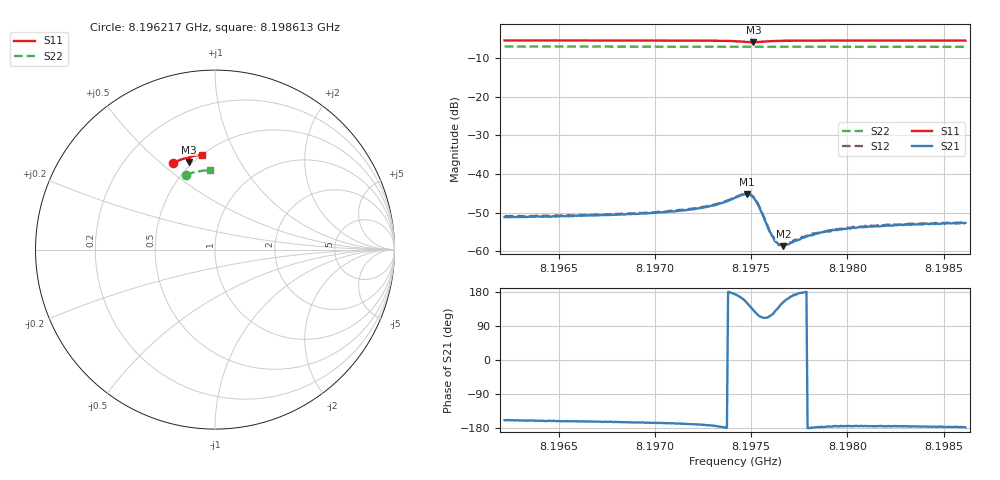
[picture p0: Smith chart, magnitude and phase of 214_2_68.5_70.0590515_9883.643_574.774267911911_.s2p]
#  HZ  S  RI  R  50.00
! Rohde & Schwarz Vector Network Analyzer
! Rohde-Schwarz,ZNB20-2Port,1311601062101988,3.16
! Created: UTC 3/20/2024, 5:13:16 PM
! freq[Hz]  re:S11  im:S11  re:S21  im:S21  re:S12  im:S12  re:S22  im:S22
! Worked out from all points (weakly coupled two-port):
!   401 points, 8.196217 GHz to 8.198613 GHz, reference 50 ohm
!   highest |S21| = -45.16 dB at 8.197475 GHz (marker M1); lowest = -58.7 dB at 8.197667 GHz (marker M2)
!   lowest |S11| = -5.9 dB at 8.197511 GHz (marker M3), VSWR 3.07, Z = 24 + j31.6 ohm
!   |S11| at or under -10 dB: nowhere
!   |S22| runs from -7.1 to -7.0 dB; largest |S21 - S12| = 0.00027
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8.1962171e9  -0.2338 0.4833  -0.00259 -0.001  -0.00271 -0.000942  -0.1608 0.4178
8.1966184e9  -0.2071 0.4947  -0.00276 -0.000893  -0.00287 -0.0008  -0.1393 0.4246
8.1970198e9  -0.1788 0.5048  -0.00309 -0.000761  -0.00318 -0.00065  -0.1174 0.4305
8.1971576e9  -0.1681 0.5077  -0.00336 -0.000659  -0.00341 -0.000552  -0.1098 0.4324
8.1972594e9  -0.1592 0.5095  -0.00369 -0.000561  -0.00379 -0.000414  -0.1042 0.4336
8.1973433e9  -0.1505 0.5096  -0.00422 -0.000274  -0.00427 -0.000113  -0.0993 0.4344
8.1974152e9  -0.1411 0.5063  -0.0049 0.000561  -0.00495 0.000717  -0.0953 0.4352
8.1974751e9  -0.1365 0.495  -0.00488 0.00259  -0.00487 0.00281  -0.092 0.4353
8.1974931e9  -0.1391 0.4907  -0.00423 0.00331  -0.00422 0.00356  -0.0914 0.4354
8.197511e9  -0.1438 0.488  -0.00328 0.00375  -0.00322 0.00396  -0.0904 0.4355
8.197523e9  -0.1475 0.4883  -0.00257 0.00373  -0.00247 0.00389  -0.0898 0.4357
8.197541e9  -0.1521 0.4909  -0.00165 0.00336  -0.00155 0.00349  -0.089 0.4359
8.1975949e9  -0.1544 0.5022  -0.000784 0.00163  -0.000723 0.0017  -0.086 0.4367
8.1976129e9  -0.153 0.5051  -0.000798 0.0013  -0.000762 0.00135  -0.085 0.437
8.1976368e9  -0.1508 0.5079  -0.00091 0.000891  -0.000885 0.000953  -0.0836 0.4373
8.1976548e9  -0.1491 0.5096  -0.00101 0.000655  -0.00097 0.000717  -0.0826 0.4375
8.1976668e9  -0.1479 0.5105  -0.00104 0.000532  -0.00105 0.000643  -0.082 0.4375
8.1978166e9  -0.1344 0.5174  -0.00161 -4.31e-05  -0.0017 2.25e-05  -0.0735 0.4389
8.1979304e9  -0.1252 0.5201  -0.00188 -0.00016  -0.0019 -5.41e-05  -0.0671 0.4397
8.1980442e9  -0.1166 0.5221  -0.002 -0.000203  -0.00206 -0.000138  -0.0605 0.4404
8.1982179e9  -0.1037 0.5247  -0.00213 -0.000218  -0.00222 -0.000111  -0.0508 0.4413
8.1986133e9  -0.0752 0.5293  -0.00233 -8.43e-05  -0.00233 -3.44e-05  -0.0284 0.4427
